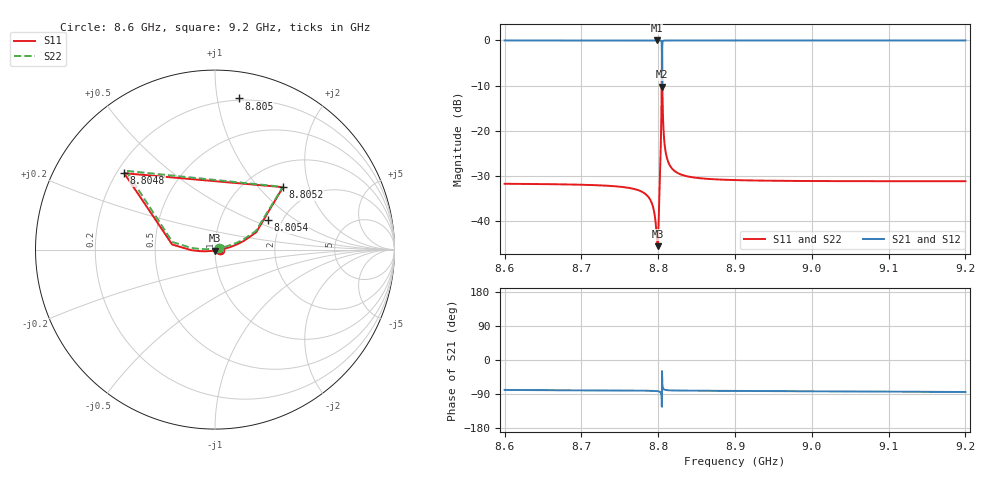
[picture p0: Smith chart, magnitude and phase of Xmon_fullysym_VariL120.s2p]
! Sonnet Data File
! From: emgraph Version : 16.52
! From Project: 171117_Xmon_fullysym
! Data is De-embedded
! Data File Written: 11/26/2017 21:44:48
!< HDATE 11/26/2017 17:24:49
!< MDATE 11/26/2017 17:24:49
!< PARAMS
!< Lj = 11.0
!< Gap = 1.0
!< Pwid = 2000.0
!< Airgap = 6.0
!< Width = 10.0
!< Lj1 = 12.0
!< END PARAMS
# GHZ S MA R 50.90000
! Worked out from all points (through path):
!   3001 points, 8.6 GHz to 9.2 GHz, reference 50.9 ohm
!   highest |S21| = 0.00 dB at 8.7978 GHz (marker M1); lowest = -10.2 dB at 8.805 GHz (marker M2)
!   lowest |S11| = -45.5 dB at 8.7992 GHz (marker M3), VSWR 1.01, Z = 51 - j0.537 ohm
!   |S11| at or under -10 dB: start of sweep to 8.8045 GHz; 8.8054 GHz to end of sweep
!   |S22| runs from -45.2 to -1.4 dB; largest |S21 - S12| = 3.3e-11
!   S11 on the Smith chart (normalised r, x): 8.6 GHz: 1.05, -0.00; 8.8048 GHz: 0.23, +0.35; 8.805 GHz: 0.19, +1.15; 8.8052 GHz: 1.45, +1.37; 8.8054 GHz: 1.69, +0.62; 9.2 GHz: 1.06, -0.01
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8.6  0.02606 -0.1  0.9997 -79.0  0.9997 -79.0  0.02606 22.2
!< P1 F=8.6 Eeff=(6.44845572 -2.9799e-5) Z0=(50.9087207 1.17006e-4) R=0.0 C=0.0
!< P2 F=8.6 Eeff=(6.44845572 -2.9799e-5) Z0=(50.9087207 1.17006e-4) R=0.0 C=0.0
8.7  0.02543 -1.6  0.9997 -79.9  0.9997 -79.9  0.02543 21.7
8.78  0.02101 -5.4  0.9998 -81.0  0.9998 -81.0  0.02101 23.5
8.7914  0.01613 -10.5  0.9999 -81.3  0.9999 -81.3  0.01615 27.9
8.7978  0.007462 -37.4  0.9999 -82.0  0.9999 -82.0  0.007546 54.1
8.7992  0.005326 -81.5  0.9999 -82.3  0.9999 -82.3  0.005504 97.0
8.8002  0.007643 -128.4  0.9998 -82.6  0.9998 -82.6  0.007824 141.8
8.8012  0.01497 -152.3  0.9997 -83.1  0.9997 -83.1  0.01512 164.6
8.8032  0.0603 -171.1  0.9972 -85.8  0.9972 -85.8  0.06047 177.8
8.8048  0.6612 139.9  0.6689 -123.3  0.6689 -123.3  0.6621 138.5
8.805  0.8524 81.1  0.3078 -29.0  0.3078 -29.0  0.8535 80.5
8.8052  0.5143 42.6  0.8214 -51.5  0.8214 -51.5  0.515 42.7
8.8054  0.3357 29.0  0.929 -62.7  0.929 -62.7  0.3361 29.9
8.8072  0.09339 10.4  0.9951 -77.0  0.9951 -77.0  0.09346 16.2
8.808  0.07601 8.5  0.9968 -78.0  0.9968 -78.0  0.07606 15.9
8.8092  0.06216 6.7  0.9979 -78.8  0.9979 -78.8  0.06219 15.9
8.8118  0.04878 4.5  0.9987 -79.6  0.9987 -79.6  0.04879 16.4
8.8216  0.03592 1.3  0.9993 -80.5  0.9993 -80.5  0.03592 17.8
8.9002  0.02862 -2.3  0.9996 -81.6  0.9996 -81.6  0.02862 19.1
9.0002  0.02795 -3.8  0.9996 -82.6  0.9996 -82.6  0.02795 18.6
9.1  0.02782 -5.0  0.9996 -83.5  0.9996 -83.5  0.02782 17.9
9.2  0.02782 -6.1  0.9996 -84.4  0.9996 -84.4  0.02782 17.2
